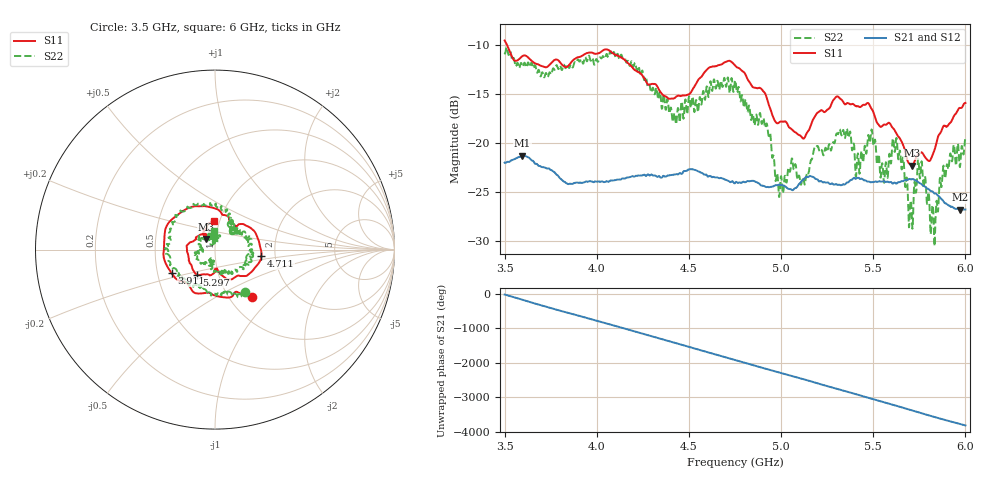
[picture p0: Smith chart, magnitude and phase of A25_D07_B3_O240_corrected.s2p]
! Created with skrf 1.9.0 (http://scikit-rf.org).
# Hz S RI R 50.0
!freq ReS11 ImS11 ReS21 ImS21 ReS12 ImS12 ReS22 ImS22
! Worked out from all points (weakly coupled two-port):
!   1601 points, 3.5 GHz to 6 GHz, reference 50 ohm
!   highest |S21| = -21.30 dB at 3.595 GHz (marker M1); lowest = -26.8 dB at 5.97 GHz (marker M2)
!   lowest |S11| = -22.3 dB at 5.711 GHz (marker M3), VSWR 1.17, Z = 45 + j5.33 ohm
!   |S11| at or under -10 dB: 3.513 GHz to end of sweep
!   |S22| runs from -30.5 to -10.2 dB; largest |S21 - S12| = 0.00095
!   S11 on the Smith chart (normalised r, x): 3.5 GHz: 1.27, -0.75; 3.911 GHz: 0.59, -0.17; 4.711 GHz: 1.69, -0.13; 5.297 GHz: 0.79, -0.23; 6 GHz: 0.94, +0.31
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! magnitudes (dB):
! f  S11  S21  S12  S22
! 3.5 GHz  -9.6  -22.0  -22.0  -10.8
! 3.595 GHz  -11.2  -21.3  -21.3  -12.1
! 3.911 GHz  -11.2  -24.1  -24.0  -11.6
! 3.917 GHz  -11.2  -24.1  -24.1  -11.5
! 4.141 GHz  -11.4  -23.6  -23.6  -11.4
! 4.334 GHz  -14.5  -23.4  -23.4  -15.6
! 4.422 GHz  -15.5  -23.2  -23.2  -17.0
! 4.711 GHz  -11.7  -23.9  -23.8  -13.3
! 4.75 GHz  -12.1  -24.1  -24.0  -13.7
! 4.914 GHz  -15.0  -24.5  -24.4  -18.5
! 4.998 GHz  -17.8  -24.3  -24.3  -23.5
! 5.167 GHz  -17.9  -23.5  -23.4  -21.7
! 5.297 GHz  -15.3  -24.2  -24.2  -19.3
! 5.484 GHz  -16.3  -24.0  -24.0  -19.6
! 5.584 GHz  -18.0  -24.0  -24.0  -21.7
! 5.619 GHz  -18.8  -24.1  -24.1  -20.8
! 5.711 GHz  -22.3  -23.7  -23.7  -28.3
! 5.753 GHz  -21.0  -24.1  -24.1  -23.6
! 5.823 GHz  -21.2  -25.0  -25.0  -26.4
! 5.872 GHz  -18.7  -25.8  -25.7  -24.3
! 5.97 GHz  -16.4  -26.8  -26.8  -22.5
! 6 GHz  -15.9  -26.8  -26.8  -19.6
